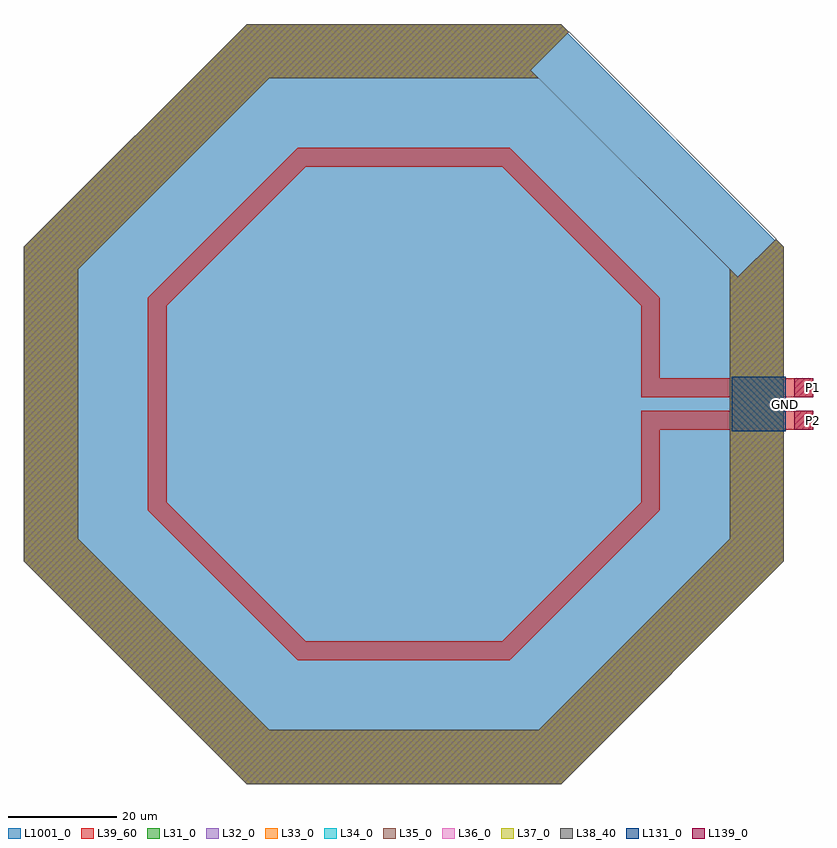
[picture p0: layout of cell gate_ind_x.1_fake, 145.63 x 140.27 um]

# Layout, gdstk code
import gdstk
lib = gdstk.Library(unit=1e-6, precision=1e-09)
def R(c, l, rs):  # rectangles x0, y0, x1, y1
    for r in rs: c.add(gdstk.rectangle(r[:2], r[2:], *l))
def P(c, l, *ps):  # polygons
    for p in ps: c.add(gdstk.Polygon(p, *l))
L31_0 = (31, 0)
L32_0 = (32, 0)
L33_0 = (33, 0)
L34_0 = (34, 0)
L35_0 = (35, 0)
L36_0 = (36, 0)
L37_0 = (37, 0)
L38_40 = (38, 40)
L39_60 = (39, 60)
L131_0 = (131, 0)
L139_0 = (139, 0)
L1001_0 = (1001, 0)

gate_ind_x_1_fake = lib.new_cell('gate_ind_x.1_fake')
P(gate_ind_x_1_fake, L31_0, [(61.599,23.444),(68.67,30.515),(29.051,70.134),(-29.051,70.134),(-70.134,29.051),(-70.134,-29.051),(-29.051,-70.134),(29.051,-70.134),(70.134,-29.051),(70.134,29.051),(30.515,68.67),(23.444,61.599),(60.134,24.909),(60.134,-24.909),(24.909,-60.134),(-24.909,-60.134),(-60.134,-24.909),(-60.134,24.909),(-24.909,60.134),(24.909,60.134)])
P(gate_ind_x_1_fake, L32_0, [(61.599,23.444),(68.67,30.515),(29.051,70.134),(-29.051,70.134),(-70.134,29.051),(-70.134,-29.051),(-29.051,-70.134),(29.051,-70.134),(70.134,-29.051),(70.134,29.051),(30.515,68.67),(23.444,61.599),(60.134,24.909),(60.134,-24.909),(24.909,-60.134),(-24.909,-60.134),(-60.134,-24.909),(-60.134,24.909),(-24.909,60.134),(24.909,60.134)])
P(gate_ind_x_1_fake, L33_0, [(61.599,23.444),(68.67,30.515),(29.051,70.134),(-29.051,70.134),(-70.134,29.051),(-70.134,-29.051),(-29.051,-70.134),(29.051,-70.134),(70.134,-29.051),(70.134,29.051),(30.515,68.67),(23.444,61.599),(60.134,24.909),(60.134,-24.909),(24.909,-60.134),(-24.909,-60.134),(-60.134,-24.909),(-60.134,24.909),(-24.909,60.134),(24.909,60.134)])
P(gate_ind_x_1_fake, L34_0, [(61.599,23.444),(68.67,30.515),(29.051,70.134),(-29.051,70.134),(-70.134,29.051),(-70.134,-29.051),(-29.051,-70.134),(29.051,-70.134),(70.134,-29.051),(70.134,29.051),(30.515,68.67),(23.444,61.599),(60.134,24.909),(60.134,-24.909),(24.909,-60.134),(-24.909,-60.134),(-60.134,-24.909),(-60.134,24.909),(-24.909,60.134),(24.909,60.134)])
P(gate_ind_x_1_fake, L35_0, [(61.599,23.444),(68.67,30.515),(29.051,70.134),(-29.051,70.134),(-70.134,29.051),(-70.134,-29.051),(-29.051,-70.134),(29.051,-70.134),(70.134,-29.051),(70.134,29.051),(30.515,68.67),(23.444,61.599),(60.134,24.909),(60.134,-24.909),(24.909,-60.134),(-24.909,-60.134),(-60.134,-24.909),(-60.134,24.909),(-24.909,60.134),(24.909,60.134)])
P(gate_ind_x_1_fake, L36_0, [(61.599,23.444),(68.67,30.515),(29.051,70.134),(-29.051,70.134),(-70.134,29.051),(-70.134,-29.051),(-29.051,-70.134),(29.051,-70.134),(70.134,-29.051),(70.134,29.051),(30.515,68.67),(23.444,61.599),(60.134,24.909),(60.134,-24.909),(24.909,-60.134),(-24.909,-60.134),(-60.134,-24.909),(-60.134,24.909),(-24.909,60.134),(24.909,60.134)])
P(gate_ind_x_1_fake, L37_0, [(61.599,23.444),(68.67,30.515),(29.051,70.134),(-29.051,70.134),(-70.134,29.051),(-70.134,-29.051),(-29.051,-70.134),(29.051,-70.134),(70.134,-29.051),(70.134,29.051),(30.515,68.67),(23.444,61.599),(60.134,24.909),(60.134,-24.909),(24.909,-60.134),(-24.909,-60.134),(-60.134,-24.909),(-60.134,24.909),(-24.909,60.134),(24.909,60.134)])
P(gate_ind_x_1_fake, L38_40, [(61.599,23.444),(68.67,30.515),(29.051,70.134),(-29.051,70.134),(-70.134,29.051),(-70.134,-29.051),(-29.051,-70.134),(29.051,-70.134),(70.134,-29.051),(70.134,29.051),(30.515,68.67),(23.444,61.599),(60.134,24.909),(60.134,-24.909),(24.909,-60.134),(-24.909,-60.134),(-60.134,-24.909),(-60.134,24.909),(-24.909,60.134),(24.909,60.134)])
R(gate_ind_x_1_fake, L39_60, [(43.75,-4.75,75.5,-1.25), (43.75,1.25,75.5,4.75)])
P(gate_ind_x_1_fake, L39_60, [(43.75,3),(47.25,3),(47.25,19.57),(19.57,47.25),(-19.57,47.25),(-47.25,19.57),(-47.25,-19.57),(-19.57,-47.25),(19.57,-47.25),(47.25,-19.57),(47.25,-3),(43.75,-3),(43.75,-18.12),(18.12,-43.75),(-18.12,-43.75),(-43.75,-18.12),(-43.75,18.12),(-18.12,43.75),(18.12,43.75),(43.75,18.12)],
  [(61.599,23.444),(68.67,30.515),(29.051,70.134),(-29.051,70.134),(-70.134,29.051),(-70.134,-29.051),(-29.051,-70.134),(29.051,-70.134),(70.134,-29.051),(70.134,29.051),(30.515,68.67),(23.444,61.599),(60.134,24.909),(60.134,-24.909),(24.909,-60.134),(-24.909,-60.134),(-60.134,-24.909),(-60.134,24.909),(-24.909,60.134),(24.909,60.134)])
R(gate_ind_x_1_fake, L131_0, [(60.5,-5,70.5,5)])
R(gate_ind_x_1_fake, L139_0, [(72,-4.75,75.5,-1.25), (72,1.25,75.5,4.75)])
P(gate_ind_x_1_fake, L1001_0, [(69.754,28.893),(28.893,69.754),(-28.893,69.754),(-69.754,28.893),(-69.754,-28.893),(-28.893,-69.754),(28.893,-69.754),(69.754,-28.893)],
  [(69.754,28.893),(28.893,69.754),(-28.893,69.754),(-69.754,28.893),(-69.754,-28.893),(-28.893,-69.754),(28.893,-69.754),(69.754,-28.893)],
  [(69.754,28.893),(28.893,69.754),(-28.893,69.754),(-69.754,28.893),(-69.754,-28.893),(-28.893,-69.754),(28.893,-69.754),(69.754,-28.893)],
  [(69.754,28.893),(28.893,69.754),(-28.893,69.754),(-69.754,28.893),(-69.754,-28.893),(-28.893,-69.754),(28.893,-69.754),(69.754,-28.893)],
  [(69.754,28.893),(28.893,69.754),(-28.893,69.754),(-69.754,28.893),(-69.754,-28.893),(-28.893,-69.754),(28.893,-69.754),(69.754,-28.893)],
  [(69.754,28.893),(28.893,69.754),(-28.893,69.754),(-69.754,28.893),(-69.754,-28.893),(-28.893,-69.754),(28.893,-69.754),(69.754,-28.893)],
  [(69.754,28.893),(28.893,69.754),(-28.893,69.754),(-69.754,28.893),(-69.754,-28.893),(-28.893,-69.754),(28.893,-69.754),(69.754,-28.893)],
  [(69.754,28.893),(28.893,69.754),(-28.893,69.754),(-69.754,28.893),(-69.754,-28.893),(-28.893,-69.754),(28.893,-69.754),(69.754,-28.893)],
  [(69.754,28.893),(28.893,69.754),(-28.893,69.754),(-69.754,28.893),(-69.754,-28.893),(-28.893,-69.754),(28.893,-69.754),(69.754,-28.893)])
gate_ind_x_1_fake.add(gdstk.Label('P1', (75.501,3), layer=139, texttype=0))
gate_ind_x_1_fake.add(gdstk.Label('P2', (75.501,-3), layer=139, texttype=0))
gate_ind_x_1_fake.add(gdstk.Label('GND', (70.501,0), layer=131, texttype=0))

lib.write_gds('gate_ind_x.1_fake.gds')
